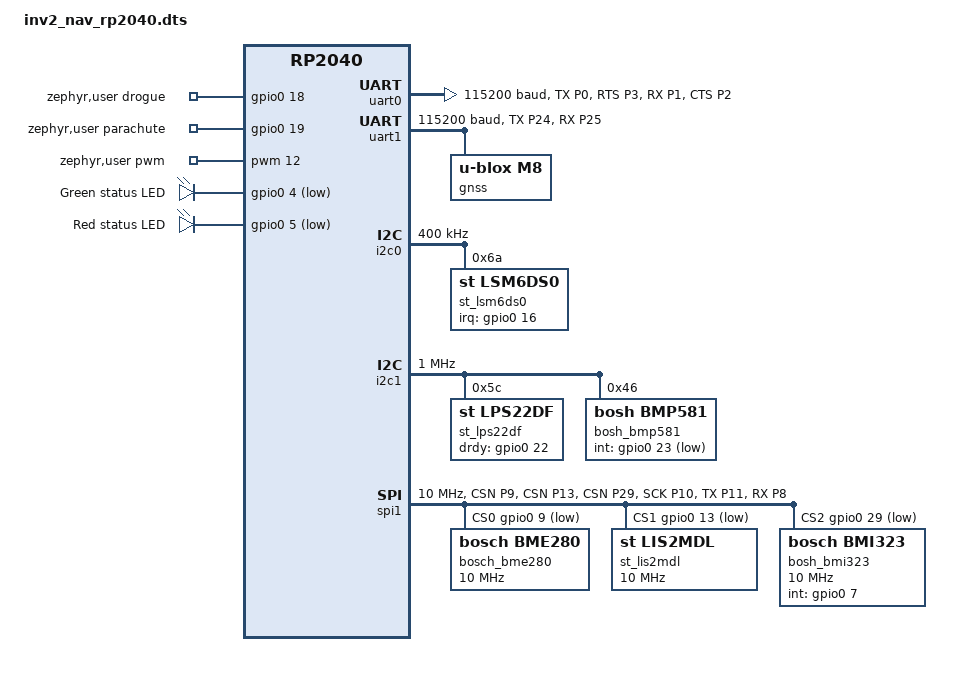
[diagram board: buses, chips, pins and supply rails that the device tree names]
/*
 * Copyright (c) 2021 Yonatan Schachter
 *
 * SPDX-License-Identifier: Apache-2.0
 */

/dts-v1/;

#include <freq.h>
#include <raspberrypi/rpi_pico/rp2040.dtsi>
#include <zephyr/dt-bindings/pwm/pwm.h>
#include <zephyr/dt-bindings/i2c/i2c.h>
#include <zephyr/dt-bindings/pinctrl/rpi-pico-rp2040-pinctrl.h>

#include "common/inv2_pinctrl_common.dtsi"
#include "common/inv2_common.dtsi"

/ {
    aliases {
        led0 = &led_green_0;
    };

    // special node to handle simple bindings
    zephyr,user {
        // Buzzer
        pwms = <&pwm 12 PWM_MSEC(20) PWM_POLARITY_NORMAL>;
        // Droge and Parachute GPIOs
        drogue-gpios = <&gpio0 18 GPIO_ACTIVE_HIGH>;
        parachute-gpios = <&gpio0 19 GPIO_ACTIVE_HIGH>;
    };

    leds {
        compatible = "gpio-leds";
        status = "okay";

        green_status: led0 {
            label = "Green status LED";
            gpios = <&gpio0 4 (GPIO_PULL_UP | GPIO_ACTIVE_LOW)>;
        };

        red_status: led1 {
            label = "Red status LED";
            gpios = <&gpio0 5 (GPIO_PULL_UP | GPIO_ACTIVE_LOW)>;
        };
    };
};

// For communication with inv2_obc
&uart0 {
    status = "okay";
    current-speed = <115200>;
    pinctrl-0 = <&uart0_hw_flow_ctrl>;
    pinctrl-names = "default";
    hw-flow-control;
};

&uart1 {
    status = "okay";
	current-speed = <115200>;
    pinctrl-0 = <&uart1_gnss>;
    pinctrl-names = "default";

    gnss: gnss {
        compatible = "u-blox,m8";
        status = "okay";

        uart-baudrate = <115200>;
        // There is an interrupt on GPIO 27 for the GPS,
        // but it is not used in this configuration.
        // Maybe part of the uart hw flow control?
    };
};

&i2c0 {
    status = "okay";
    clock-frequency = <I2C_BITRATE_FAST>;
    pinctrl-0 = <&i2c0_nav>;
    pinctrl-names = "default";

    st_lsm6ds0: lsm6ds0@0x6a {
        compatible = "st,lsm6ds0";
        reg = <0x6a>;
        status = "okay";

        irq-gpios = <&gpio0 16 GPIO_ACTIVE_HIGH>;
        friendly-name = "st lsm6ds0 inertial measurement unit";
                            // power mode
        accel-pm = <0>;     // 0: High power,
                            // 1: Low power normal,
                            // 2: ultra low power

                            // range in g
        accel-range = <16>;  // 0: +/- 2g,
                            // 1: +/- 16g,
                            // 2: +/- 4g,
                            // 3: +/- 8g

                            // output data rate
        accel-odr = <0x5>;  // 0: off 
                            // 1: 12.5Hz
                            // 2: 26Hz
                            // 3: 52Hz
                            // 4: 104Hz
                            // 5: 208Hz
                            // 6: 417Hz
                            // 7: 833Hz
                            // 8: 1667Hz
                            // 9: 3333Hz
                            // A: 6667Hz

                            // power mode
        gyro-pm = <0>;      // 0: High power,
                            // 1: normal mode

                            // range in dps
        gyro-range = <0>;   // 0: 250dps
                            // 1: 125dps
                            // 2: 500dps
                            // 4: 1000dps
                            // 6: 2000dps

                            // output data rate
        gyro-odr = <0x5>;   // 0: off
                            // 1: 12.5Hz
                            // 2: 26Hz
                            // 3: 52Hz
                            // 4: 104Hz
                            // 5: 208Hz
                            // 6: 417Hz
                            // 7: 833Hz
                            // 8: 1667Hz
                            // 9: 3333Hz
                            // A: 6667Hz

        friendly-name = "st lsm6ds0 inertial measurement unit";
    };
};

&i2c1 {
    status = "okay";
    clock-frequency = <I2C_BITRATE_FAST_PLUS>;
    pinctrl-0 = <&i2c1_nav>;
    pinctrl-names = "default";

    st_lps22df: lps22df@0x5c {
        compatible = "st,lps22df";
        reg = <0x5c>;
        status = "okay";

        drdy-gpios = <&gpio0 22 GPIO_ACTIVE_HIGH>;
        odr = <8>; // output data rate selection 0 (off) - 8 (200Hz)
        lpf = <0>; // low pass filter for pressure data selection 0 (off) - 3 (ODR 9)
        avg = <0>; // average filter for temperature data selection 0 (4 samples) - 7 (512 samples)

        friendly-name = "st lps22df pressure and temperature sensor";
    };

    bosh_bmp581: bmp581@0x46 {
        compatible = "bosh,bmp581";
        reg = <0x46>;
        status = "okay";
        int-gpios = <&gpio0 23 (GPIO_ACTIVE_LOW | GPIO_PULL_UP)>;
        friendly-name = "bosh bmp581 barometer";
    };
};

&spi0{
    status = "disabled";
};

&spi1 {
    status = "okay";
    clock-frequency = <DT_FREQ_M(10)>;
    pinctrl-0 = <&spi1_nav>;
    pinctrl-names = "default";
    cs-gpios =  <&gpio0 9 GPIO_ACTIVE_LOW>,
                <&gpio0 13 GPIO_ACTIVE_LOW>,
                <&gpio0 29 GPIO_ACTIVE_LOW>;

    bosch_bme280: bme280@0 {
        compatible = "bosch,bme280";
        reg = <0>;
        spi-max-frequency = <DT_FREQ_M(10)>;
        friendly-name = "bosh humidity sensor";
    };

    st_lis2mdl: lis2mdl@1 {
        compatible = "st,lis2mdl";
        reg = <1>;
        spi-max-frequency = <DT_FREQ_M(10)>;
        friendly-name = "st lis2mdl magnetometer";
    };

    bosh_bmi323: bmi323@2 {
        compatible = "bosch,bmi323";
        reg = <2>;
        spi-max-frequency = <DT_FREQ_M(10)>;
        // Double check these GPIO flags
        int-gpios = <&gpio0 7 (GPIO_ATIVE_LOW | GPIO_PULL_UP)>;
        friendly-name = "bosh bmi323 inertial measurement unit";
    };
};

&pinctrl {
    uart0_hw_flow_ctrl: uart0_hw_flow_ctrl {
        group1 {
            pinmux = <UART0_TX_P0>, <UART0_RTS_P3>;
        };
        group2 {
            pinmux = <UART0_RX_P1>, <UART0_CTS_P2>;
            input-enable;
        };
    };

    uart1_gnss: uart1_gnss {
        group1 {
            pinmux = <UART1_TX_P24>;
        };
        group2 {
            pinmux = <UART1_RX_P25>;
            input-enable;
        };
    };

    i2c0_nav: i2c0_nav {
        group1 {
            pinmux = <I2C0_SDA_P20>, <I2C0_SCL_P21>;
            input-enable;
            input-schmitt-enable;
        };
    };

    i2c1_nav: i2c1_nav {
        group1 {
            pinmux = <I2C1_SDA_P14>, <I2C1_SCL_P15>;
            input-enable;
            input-schmitt-enable;
        };
    };

    spi1_nav: spi1_nav {
        group1 {
			pinmux = <SPI1_CSN_P9>, <SPI1_CSN_P13>, <SPI1_CSN_P29>,
                     <SPI1_SCK_P10>, <SPI1_TX_P11>;
        };
        group2 {
            pinmux = <SPI1_RX_P8>;
            input-enable;
        };
    };
};
